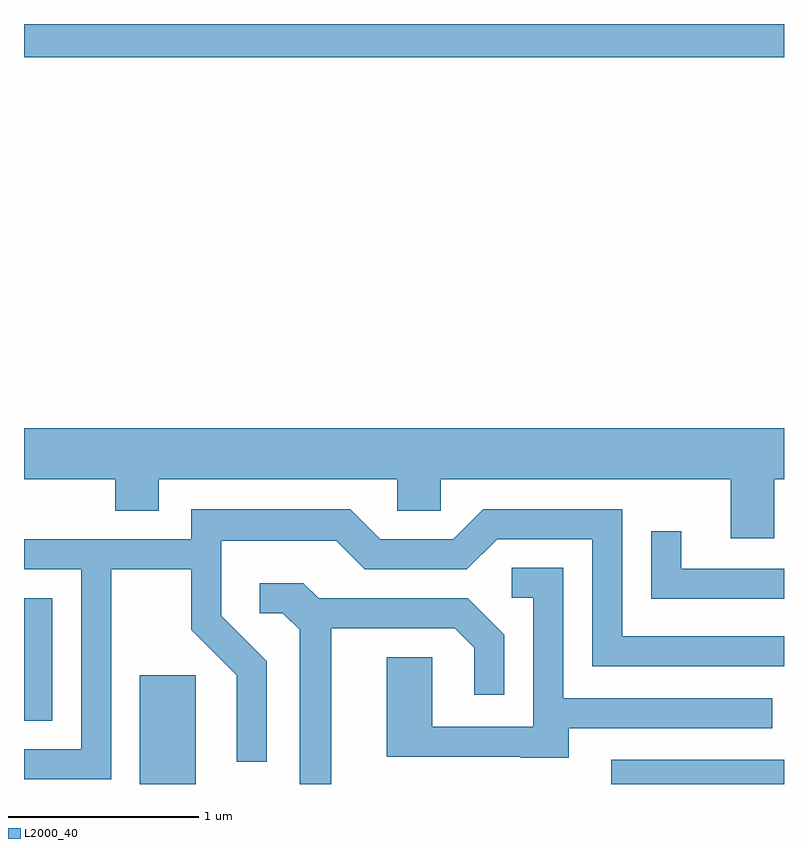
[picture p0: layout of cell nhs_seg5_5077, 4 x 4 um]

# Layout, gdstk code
import gdstk
lib = gdstk.Library(unit=1e-6, precision=1e-09)
def R(c, l, rs):  # rectangles x0, y0, x1, y1
    for r in rs: c.add(gdstk.rectangle(r[:2], r[2:], *l))
def P(c, l, *ps):  # polygons
    for p in ps: c.add(gdstk.Polygon(p, *l))
L2000_40 = (2000, 40)

nhs_seg5_5077 = lib.new_cell('nhs_seg5_5077')
R(nhs_seg5_5077, L2000_40, [(336.221,1464.072,336.514,1464.644), (338.701,1464.072,339.611,1464.199), (335.611,1464.406,335.759,1465.049), (335.611,1467.896,339.611,1468.072)])
P(nhs_seg5_5077, L2000_40, [(339.559,1465.676),(339.611,1465.676),(339.611,1465.944),(335.611,1465.944),(335.611,1465.676),(336.091,1465.676),(336.091,1465.511),(336.319,1465.511),(336.319,1465.676),(337.576,1465.676),(337.576,1465.511),(337.804,1465.511),(337.804,1465.676),(339.331,1465.676),(339.331,1465.366),(339.559,1465.366)],
  [(336.069,1465.201),(336.491,1465.201),(336.491,1464.884),(336.731,1464.644),(336.731,1464.188),(336.889,1464.188),(336.889,1464.717),(336.649,1464.957),(336.649,1465.351),(337.254,1465.351),(337.404,1465.201),(337.942,1465.201),(338.102,1465.361),(338.601,1465.361),(338.601,1464.691),(339.611,1464.691),(339.611,1464.849),(338.759,1464.849),(338.759,1465.519),(338.029,1465.519),(337.869,1465.359),(337.487,1465.359),(337.327,1465.519),(336.491,1465.519),(336.491,1465.359),(335.611,1465.359),(335.611,1465.201),(335.911,1465.201),(335.911,1464.254),(335.611,1464.254),(335.611,1464.096),(336.069,1464.096)],
  [(339.611,1465.204),(339.069,1465.204),(339.069,1465.403),(338.911,1465.403),(338.911,1465.046),(339.611,1465.046)],
  [(338.479,1464.366),(339.548,1464.366),(339.548,1464.524),(338.449,1464.524),(338.449,1465.209),(338.178,1465.209),(338.178,1465.051),(338.291,1465.051),(338.291,1464.374),(337.759,1464.374),(337.759,1464.739),(337.521,1464.739),(337.521,1464.216),(338.225,1464.216),(338.225,1464.211),(338.479,1464.211)],
  [(337.229,1464.891),(337.879,1464.891),(337.981,1464.789),(337.981,1464.543),(338.139,1464.543),(338.139,1464.857),(337.947,1465.049),(337.162,1465.049),(337.082,1465.129),(336.853,1465.129),(336.853,1464.971),(336.974,1464.971),(337.061,1464.884),(337.061,1464.072),(337.229,1464.072)])

lib.write_gds('nhs_seg5_5077.gds')
